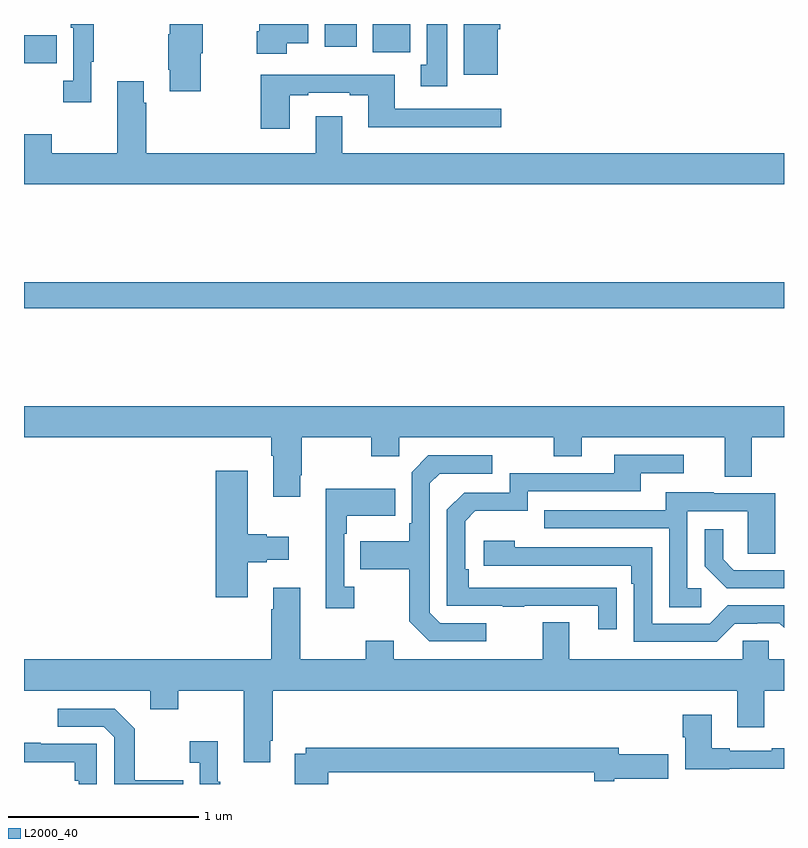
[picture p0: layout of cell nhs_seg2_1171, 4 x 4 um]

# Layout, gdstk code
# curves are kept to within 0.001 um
import gdstk
lib = gdstk.Library(unit=1e-6, precision=1e-09)
def R(c, l, rs):  # rectangles x0, y0, x1, y1
    for r in rs: c.add(gdstk.rectangle(r[:2], r[2:], *l))
def P(c, l, *ps):  # polygons
    for p in ps: c.add(gdstk.Polygon(p, *l))
L2000_40 = (2000, 40)

nhs_seg2_1171 = lib.new_cell('nhs_seg2_1171')
R(nhs_seg2_1171, L2000_40, [(171,660.304,175,660.44), (171,661.594,171.173,661.741), (172.835,661.652,173.032,661.8), (172.583,661.68,172.75,661.8)])
P(nhs_seg2_1171, L2000_40, [(173.494,661.772),(173.507,661.772),(173.507,661.8),(173.315,661.8),(173.315,661.532),(173.494,661.532)],
  [(171.93,661.647),(171.94,661.647),(171.94,661.8),(171.767,661.8),(171.767,661.747),(171.76,661.747),(171.76,661.558),(171.767,661.558),(171.767,661.446),(171.93,661.446)],
  [(173.227,661.8),(173.12,661.8),(173.12,661.586),(173.087,661.586),(173.087,661.473),(173.227,661.473)],
  [(172.384,661.7),(172.495,661.7),(172.495,661.8),(172.237,661.8),(172.237,661.761),(172.226,661.761),(172.226,661.643),(172.384,661.643)],
  [(171.355,661.601),(171.367,661.601),(171.367,661.8),(171.246,661.8),(171.246,661.781),(171.258,661.781),(171.258,661.502),(171.207,661.502),(171.207,661.389),(171.355,661.389)],
  [(172.399,661.425),(172.495,661.425),(172.495,661.437),(172.715,661.437),(172.715,661.425),(172.811,661.425),(172.811,661.256),(173.512,661.256),(173.512,661.353),(172.951,661.353),(172.951,661.534),(172.247,661.534),(172.247,661.248),(172.399,661.248)],
  [(175,661.12),(172.675,661.12),(172.675,661.315),(172.535,661.315),(172.535,661.12),(171.644,661.12),(171.644,661.385),(171.631,661.385),(171.631,661.498),(171.491,661.498),(171.491,661.12),(171.147,661.12),(171.147,661.219),(171,661.219),(171,660.956),(175,660.956)],
  [(172.453,659.425),(172.461,659.425),(172.461,659.624),(172.828,659.624),(172.828,659.525),(172.974,659.525),(172.974,659.624),(173.788,659.624),(173.788,659.525),(173.935,659.525),(173.935,659.624),(174.689,659.624),(174.689,659.416),(174.829,659.416),(174.829,659.624),(175,659.624),(175,659.788),(171,659.788),(171,659.624),(172.301,659.624),(172.301,659.528),(172.313,659.528),(172.313,659.313),(172.453,659.313)],
  [(174.119,658.832),(173.342,658.833),(173.342,658.93),(173.322,658.93),(173.322,659.184),(173.375,659.237),(173.652,659.237),(173.652,659.34),(174.247,659.34),(174.247,659.436),(174.472,659.436),(174.472,659.532),(174.107,659.532),(174.107,659.436),(173.556,659.436),(173.556,659.334),(173.316,659.334),(173.226,659.244),(173.226,658.737),(173.521,658.737),(173.521,658.732),(173.633,658.732),(173.633,658.737),(174.023,658.737),(174.023,658.614),(174.119,658.614)],
  [(173.434,658.647),(173.19,658.647),(173.136,658.701),(173.136,659.382),(173.187,659.433),(173.464,659.433),(173.464,659.529),(173.127,659.529),(173.04,659.442),(173.04,659.173),(173.028,659.173),(173.028,659.077),(172.771,659.077),(172.771,658.93),(173.028,658.93),(173.028,658.657),(173.133,658.551),(173.434,658.551)],
  [(172.177,658.967),(172.277,658.967),(172.277,658.979),(172.393,658.979),(172.393,659.101),(172.277,659.101),(172.277,659.114),(172.177,659.114),(172.177,659.449),(172.01,659.449),(172.01,658.782),(172.177,658.782)],
  [(172.738,658.838),(172.686,658.838),(172.686,659.117),(172.699,659.117),(172.699,659.213),(172.955,659.213),(172.955,659.353),(172.589,659.353),(172.589,658.725),(172.738,658.725)],
  [(174.565,658.83),(174.492,658.83),(174.492,659.235),(174.81,659.235),(174.81,659.011),(174.955,659.011),(174.955,659.331),(174.631,659.331),(174.631,659.335),(174.377,659.335),(174.377,659.241),(173.737,659.241),(173.737,659.145),(174.396,659.145),(174.396,658.729),(174.565,658.729)],
  [(175,658.926),(174.736,658.926),(174.679,658.983),(174.679,659.14),(174.582,659.14),(174.582,658.946),(174.698,658.83),(175,658.83)],
  [(174.741,658.644),(174.86,658.644),(174.86,658.647),(174.975,658.647),(175,658.622),(175,658.74),(174.705,658.74),(174.609,658.644),(174.306,658.644),(174.306,659.046),(173.582,659.046),(173.582,659.08),(173.421,659.08),(173.421,658.95),(174.197,658.95),(174.197,658.853),(174.21,658.853),(174.21,658.548),(174.645,658.548)],
  [(174.755,658.098),(174.895,658.098),(174.895,658.292),(175,658.292),(175,658.456),(174.921,658.456),(174.921,658.554),(174.783,658.554),(174.783,658.456),(173.869,658.456),(173.869,658.651),(173.729,658.651),(173.729,658.456),(172.945,658.456),(172.945,658.555),(172.798,658.555),(172.798,658.456),(172.453,658.456),(172.453,658.834),(172.313,658.834),(172.313,658.721),(172.301,658.721),(172.301,658.456),(171,658.456),(171,658.292),(171.665,658.292),(171.665,658.193),(171.813,658.193),(171.813,658.292),(172.157,658.292),(172.157,657.915),(172.297,657.915),(172.297,658.027),(172.31,658.027),(172.31,658.292),(174.755,658.292)],
  [(171.839,657.819),(171.583,657.819),(171.583,658.091),(171.477,658.197),(171.177,658.197),(171.177,658.101),(171.42,658.101),(171.474,658.047),(171.474,657.8),(171.839,657.8)],
  [(174.711,657.879),(175,657.879),(175,657.988),(174.935,657.988),(174.935,657.975),(174.715,657.975),(174.715,657.988),(174.619,657.988),(174.619,658.165),(174.467,658.165),(174.467,658.045),(174.479,658.045),(174.479,657.878),(174.711,657.878)],
  [(172.033,657.811),(172.021,657.811),(172.021,658.024),(171.873,658.024),(171.873,657.911),(171.924,657.911),(171.924,657.8),(172.033,657.8)],
  [(171.384,658.011),(171.089,658.011),(171.089,658.016),(171,658.016),(171,657.915),(171.268,657.915),(171.268,657.818),(171.288,657.818),(171.288,657.8),(171.384,657.8)],
  [(172.601,657.862),(174.002,657.862),(174.002,657.815),(174.106,657.815),(174.106,657.827),(174.391,657.827),(174.391,657.957),(174.13,657.957),(174.13,657.991),(172.482,657.991),(172.482,657.958),(172.426,657.958),(172.426,657.8),(172.601,657.8)])

lib.write_gds('nhs_seg2_1171.gds')
